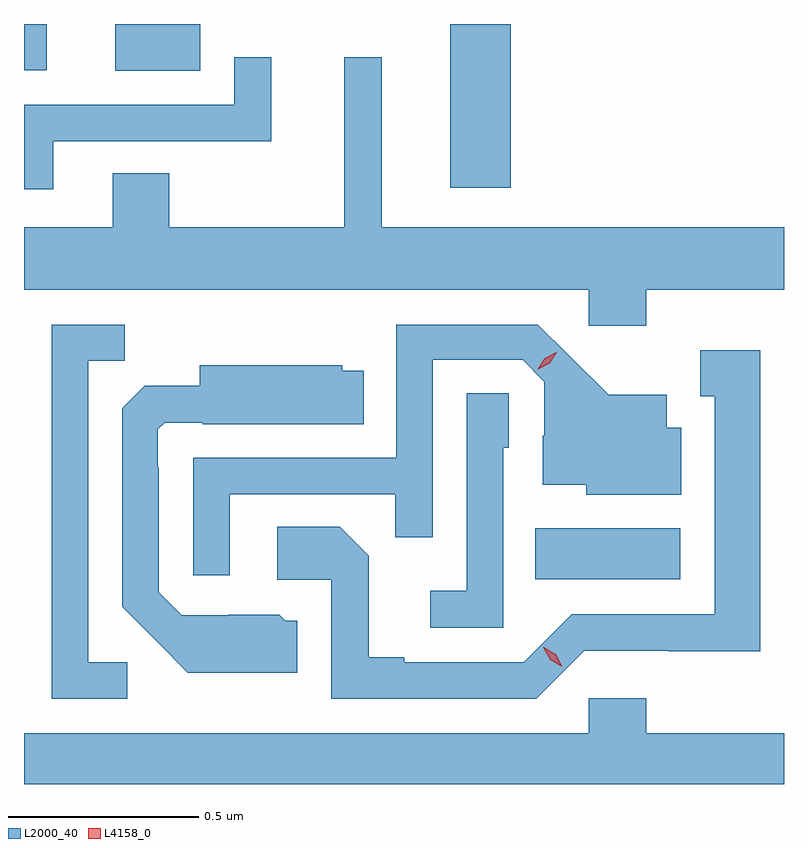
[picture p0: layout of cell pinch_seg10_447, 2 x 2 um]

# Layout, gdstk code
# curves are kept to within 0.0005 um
import gdstk
lib = gdstk.Library(unit=1e-6, precision=1e-09)
def R(c, l, rs):  # rectangles x0, y0, x1, y1
    for r in rs: c.add(gdstk.rectangle(r[:2], r[2:], *l))
def P(c, l, *ps):  # polygons
    for p in ps: c.add(gdstk.Polygon(p, *l))
L2000_40 = (2000, 40)
L4158_0 = (4158, 0)

pinch_seg10_447 = lib.new_cell('pinch_seg10_447')
R(pinch_seg10_447, L2000_40, [(371.356,1304.882,371.737,1305.016), (371.132,1305.912,371.291,1306.343), (370.25,1306.22,370.474,1306.343), (370.01,1306.221,370.07,1306.343)])
P(pinch_seg10_447, L2000_40, [(371.648,1305.644),(372.01,1305.644),(372.01,1305.808),(370.952,1305.808),(370.952,1306.255),(370.853,1306.255),(370.853,1305.808),(370.392,1305.808),(370.392,1305.95),(370.244,1305.95),(370.244,1305.808),(370.01,1305.808),(370.01,1305.644),(371.496,1305.644),(371.496,1305.549),(371.648,1305.549)],
  [(370.087,1306.035),(370.661,1306.035),(370.661,1306.255),(370.563,1306.255),(370.563,1306.131),(370.01,1306.131),(370.01,1305.908),(370.087,1305.908)],
  [(370.551,1305.105),(370.987,1305.105),(370.987,1304.992),(371.085,1304.992),(371.085,1305.459),(371.322,1305.459),(371.379,1305.402),(371.379,1305.26),(371.375,1305.26),(371.375,1305.131),(371.49,1305.131),(371.49,1305.104),(371.74,1305.104),(371.74,1305.28),(371.701,1305.28),(371.701,1305.367),(371.549,1305.367),(371.362,1305.552),(370.989,1305.552),(370.989,1305.201),(370.455,1305.201),(370.455,1304.892),(370.551,1304.892)],
  [(370.282,1304.664),(370.179,1304.664),(370.179,1305.457),(370.275,1305.457),(370.275,1305.552),(370.083,1305.552),(370.083,1304.568),(370.282,1304.568)],
  [(371.484,1304.694),(371.706,1304.694),(371.706,1304.693),(371.947,1304.693),(371.947,1305.484),(371.789,1305.484),(371.789,1305.363),(371.828,1305.363),(371.828,1304.79),(371.451,1304.79),(371.325,1304.664),(371.011,1304.664),(371.011,1304.677),(370.917,1304.677),(370.917,1304.944),(370.841,1305.02),(370.677,1305.02),(370.677,1304.88),(370.818,1304.88),(370.818,1304.568),(371.358,1304.568)],
  [(370.729,1304.772),(370.698,1304.772),(370.682,1304.788),(370.548,1304.788),(370.548,1304.787),(370.425,1304.787),(370.365,1304.847),(370.365,1305.176),(370.362,1305.176),(370.362,1305.276),(370.38,1305.294),(370.48,1305.294),(370.48,1305.29),(370.904,1305.29),(370.904,1305.43),(370.848,1305.43),(370.848,1305.445),(370.472,1305.445),(370.472,1305.391),(370.328,1305.391),(370.269,1305.332),(370.269,1304.81),(370.441,1304.636),(370.729,1304.636)],
  [(371.271,1305.228),(371.286,1305.228),(371.286,1305.371),(371.175,1305.371),(371.175,1304.851),(371.079,1304.851),(371.079,1304.754),(371.271,1304.754)],
  [(372.01,1304.476),(371.648,1304.476),(371.648,1304.569),(371.496,1304.569),(371.496,1304.476),(370.01,1304.476),(370.01,1304.343),(372.01,1304.343)])
P(pinch_seg10_447, L4158_0, [(371.427,1304.652),(371.395,1304.67),(371.377,1304.703),(371.377,1304.703),(371.378,1304.703),(371.409,1304.684),(371.427,1304.652),(371.427,1304.652)],
  [(371.362,1305.435),(371.362,1305.435),(371.38,1305.464),(371.411,1305.479),(371.412,1305.479),(371.412,1305.479),(371.394,1305.45),(371.363,1305.435)])

lib.write_gds('pinch_seg10_447.gds')
